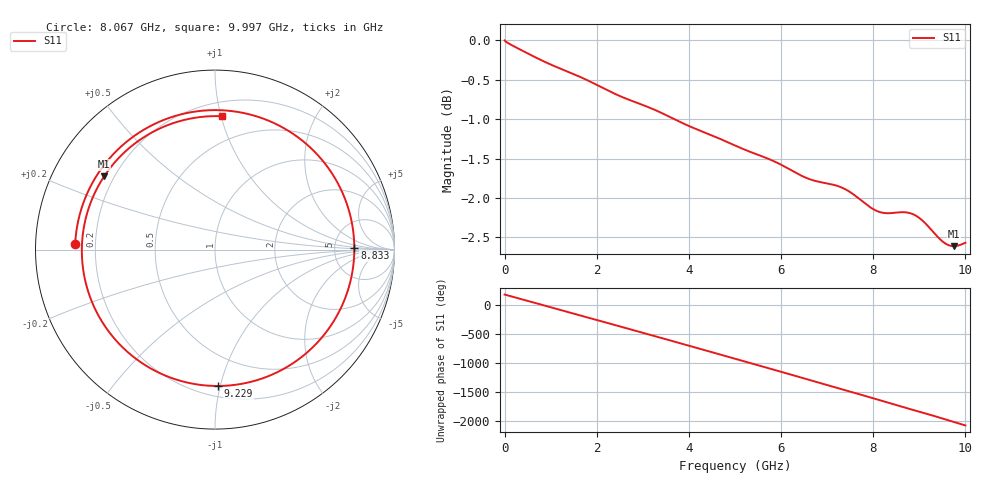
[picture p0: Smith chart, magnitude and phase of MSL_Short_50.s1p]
!Created with skrf (http://scikit-rf.org).
# MHz S RI R 50.0
!freq ReS11 ImS11
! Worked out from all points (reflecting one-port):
!   10000 points, 1 MHz to 10 GHz, reference 50 ohm
!   lowest |S11| = -2.6 dB at 9.748 GHz (marker M1), VSWR 6.70, Z = 8.12 + j14.7 ohm
!   phase of S11 starts at 180 deg and turns -2253 deg over the sweep
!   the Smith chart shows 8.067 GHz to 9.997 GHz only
!   S11 on the Smith chart (normalised r, x): 8.067 GHz: 0.12, +0.02; 8.833 GHz: 7.93, +0.35; 9.229 GHz: 0.27, -0.98; 9.997 GHz: 0.30, +1.01
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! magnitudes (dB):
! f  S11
! 1 MHz  0.0
! 705 MHz  -0.2
! 1.251 GHz  -0.4
! 1.729 GHz  -0.5
! 2.501 GHz  -0.7
! 3.221 GHz  -0.9
! 3.751 GHz  -1.0
! 5.001 GHz  -1.3
! 5.815 GHz  -1.5
! 6.251 GHz  -1.7
! 6.607 GHz  -1.8
! 7.214 GHz  -1.8
! 7.501 GHz  -1.9
! 7.903 GHz  -2.1
! 8.067 GHz  -2.2
! 8.277 GHz  -2.2
! 8.618 GHz  -2.2
! 8.751 GHz  -2.2
! 8.833 GHz  -2.2
! 9.019 GHz  -2.3
! 9.229 GHz  -2.4
! 9.411 GHz  -2.5
! 9.527 GHz  -2.6
! 9.638 GHz  -2.6
! 9.748 GHz  -2.6
! 9.846 GHz  -2.6
! 9.997 GHz  -2.6
! 10 GHz  -2.6
